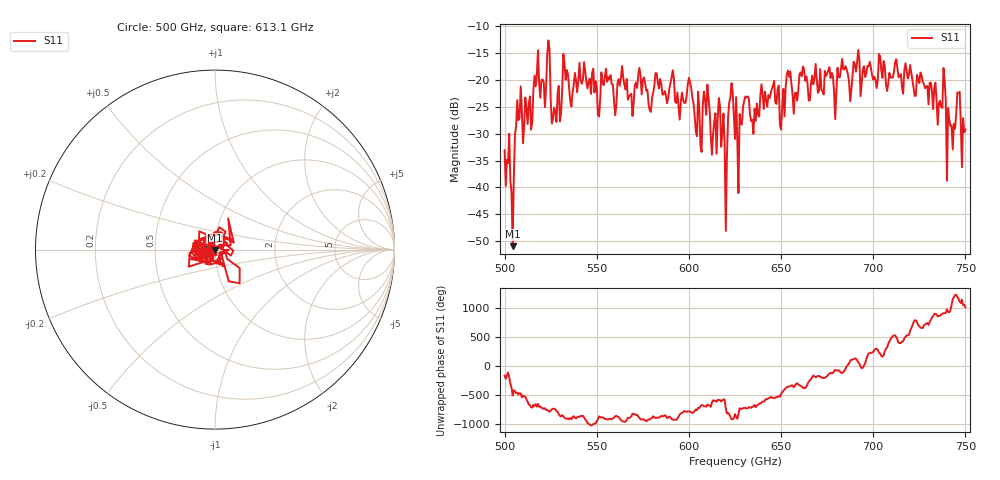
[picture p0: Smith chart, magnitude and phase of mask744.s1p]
!Created with skrf (http://scikit-rf.org).
# GHz S MA R 50.0
!freq magS11 angS11
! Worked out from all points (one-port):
!   401 points, 500 GHz to 750 GHz, reference 50 ohm
!   lowest |S11| = -50.9 dB at 504.4 GHz (marker M1), VSWR 1.01, Z = 49.8 - j0.153 ohm
!   |S11| at or under -10 dB: start of sweep to end of sweep
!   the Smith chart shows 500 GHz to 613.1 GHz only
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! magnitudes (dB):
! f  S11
! 500 GHz  -33.1
! 504.4 GHz  -50.9
! 508.1 GHz  -27.0
! 513.8 GHz  -23.1
! 516.9 GHz  -21.2
! 523.8 GHz  -12.7
! 526.9 GHz  -25.2
! 531.2 GHz  -21.7
! 562.5 GHz  -21.1
! 579.4 GHz  -26.0
! 590.6 GHz  -19.5
! 593.8 GHz  -22.3
! 600.6 GHz  -20.5
! 605.6 GHz  -25.4
! 609.4 GHz  -26.5
! 613.8 GHz  -27.8
! 617.5 GHz  -32.5
! 619.4 GHz  -32.0
! 622.5 GHz  -23.3
! 625 GHz  -31.0
! 627.5 GHz  -26.4
! 631.2 GHz  -23.3
! 635 GHz  -30.0
! 656.2 GHz  -22.8
! 687.5 GHz  -24.0
! 691.2 GHz  -16.7
! 718.8 GHz  -19.8
! 750 GHz  -29.3
